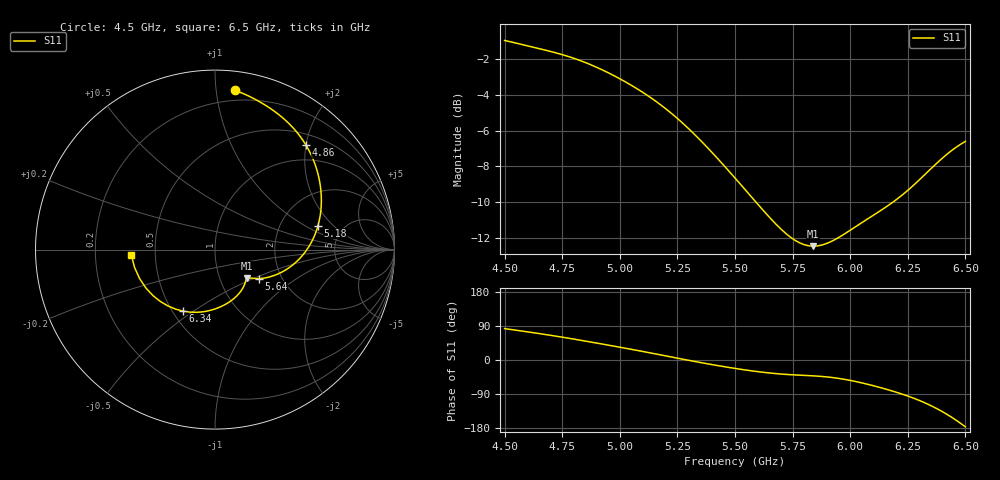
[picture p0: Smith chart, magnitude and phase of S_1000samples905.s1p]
! TOUCHSTONE file generated by CST MICROWAVE STUDIO
! Date and time: Sat Oct 29 18:24:44 2022
! Project name: L.cst
! Parameters = {Di=1.27; Epsilon_r=1.56; InnerDiameter=1.27; Length=2; Lf=10; Lg=60; OuterConductorThickness=0.2921; OuterDiameter=3.6; Wf=3; Wp=41.2; de=1.5; df=6.8; g=0.8; gx=1.34298; gy=3.41105; h=2.34; hf=1.524; px=11.5013; py=9.37475; w=9.7; wx=10.1583; wy=5.9637}
! Header version: 2018
! Port assignment regex: !\s*Touchstone port\s*([0-9]+)\s*=\s*(CST MWS port|CST DS port)\s*([0-9]+|Zmin|Zmax)\s*\(\"(.*)\"\)(\s*mode\s*([0-9]+))?.*
! Touchstone port assignment:
! Touchstone port 1 = CST MWS port 1 ("")
# GHz S DB R 50
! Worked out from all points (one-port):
!   101 points, 4.5 GHz to 6.5 GHz, reference 50 ohm
!   lowest |S11| = -12.5 dB at 5.84 GHz (marker M1), VSWR 1.63, Z = 67.2 - j22.7 ohm
!   |S11| at or under -10 dB: 5.591 GHz to 6.185 GHz (594.3 MHz wide, 10.1 % of centre)
!   S11 on the Smith chart (normalised r, x): 4.5 GHz: 0.13, +1.12; 4.86 GHz: 0.70, +2.00; 5.18 GHz: 3.27, +1.34; 5.64 GHz: 1.53, -0.54; 6.34 GHz: 0.57, -0.46; 6.5 GHz: 0.36, -0.03
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4.5  -0.97 82.9
4.64  -1.40 70.6
4.76  -1.80 59.2
4.86  -2.25 48.9
4.94  -2.71 40.3
5  -3.11 33.7
5.1  -3.87 22.4
5.18  -4.59 13.1
5.26  -5.44 3.7
5.32  -6.16 -3.2
5.38  -6.95 -9.9
5.44  -7.78 -16.3
5.5  -8.65 -22.2
5.64  -10.71 -33.6
5.76  -12.13 -39.4
5.84  -12.46 -41.9
5.92  -12.18 -46.1
6  -11.57 -53.8
6.08  -10.90 -64.7
6.14  -10.40 -74.4
6.2  -9.86 -85.1
6.26  -9.23 -97.3
6.3  -8.76 -106.7
6.34  -8.26 -117.4
6.38  -7.78 -129.6
6.42  -7.33 -143.4
6.46  -6.93 -159.0
6.5  -6.61 -176.5
